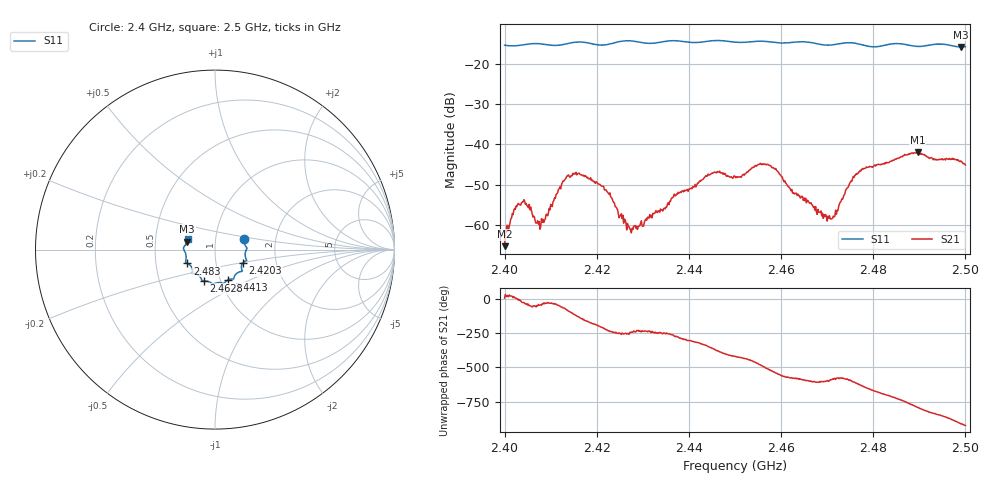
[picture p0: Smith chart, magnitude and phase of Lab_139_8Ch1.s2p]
# Hz S RI R 50
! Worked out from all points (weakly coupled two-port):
!   601 points, 2.4 GHz to 2.5 GHz, reference 50 ohm
!   highest |S21| = -42.00 dB at 2.4897 GHz (marker M1); lowest = -65.3 dB at 2.4 GHz (marker M2)
!   lowest |S11| = -15.8 dB at 2.499 GHz (marker M3), VSWR 1.39, Z = 36.4 + j3.37 ohm
!   |S11| at or under -10 dB: start of sweep to end of sweep
!   S12 and S22 are empty: the file has one direction only
!   S11 on the Smith chart (normalised r, x): 2.4 GHz: 1.37, +0.16; 2.4203 GHz: 1.35, -0.21; 2.4413 GHz: 1.09, -0.38; 2.4628 GHz: 0.83, -0.30; 2.483 GHz: 0.72, -0.11; 2.5 GHz: 0.73, +0.09
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2.4e9  0.1605 0.0567  0.000543 5.53e-05  0 0  0 0
2.402667e9  0.1656 0.0286  0.00169 4.25e-05  0 0  0 0
2.404333e9  0.1728 0.0162  0.00171 -0.00103  0 0  0 0
2.408167e9  0.1763 0.00333  0.000882 -0.000622  0 0  0 0
2.413167e9  0.1703 -0.0441  0.00109 -0.00355  0 0  0 0
2.416667e9  0.1762 -0.0614  -0.0034 -0.00249  0 0  0 0
2.420333e9  0.1554 -0.0738  -0.00314 0.00084  0 0  0 0
2.427e9  0.1513 -0.1208  -0.000182 0.000932  0 0  0 0
2.433333e9  0.1082 -0.1485  -0.000601 0.00138  0 0  0 0
2.441333e9  0.0742 -0.1681  0.00223 0.00228  0 0  0 0
2.445833e9  0.0501 -0.1885  0.00433 -0.00103  0 0  0 0
2.45e9  0.0293 -0.1838  0.00206 -0.00343  0 0  0 0
2.457167e9  -0.0177 -0.1879  -0.00491 -0.00274  0 0  0 0
2.462833e9  -0.0631 -0.1747  -0.00189 0.00152  0 0  0 0
2.466667e9  -0.0743 -0.1674  -0.000854 0.00157  0 0  0 0
2.471167e9  -0.1033 -0.1377  -0.000871 0.000849  0 0  0 0
2.476e9  -0.125 -0.1301  -0.00146 0.00387  0 0  0 0
2.483e9  -0.1547 -0.0769  0.00564 0.00183  0 0  0 0
2.483333e9  -0.1569 -0.0759  0.00572 0.00156  0 0  0 0
2.489667e9  -0.1612 -0.0327  0.00249 -0.00754  0 0  0 0
2.499e9  -0.1558 0.0451  -0.00613 0.00108  0 0  0 0
2.5e9  -0.1526 0.0586  -0.0051 0.00219  0 0  0 0
